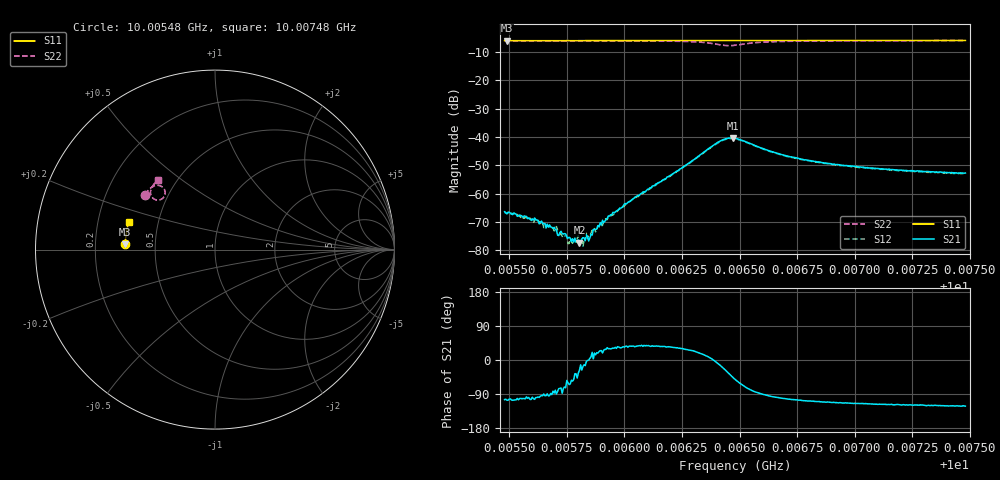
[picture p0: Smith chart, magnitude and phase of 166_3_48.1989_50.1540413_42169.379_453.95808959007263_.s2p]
#  HZ  S  RI  R  50.00
! Rohde & Schwarz Vector Network Analyzer
! Rohde-Schwarz,ZNB20-2Port,1311601062101988,3.16
! Created: UTC 3/20/2024, 11:43:32 AM
! freq[Hz]  re:S11  im:S11  re:S21  im:S21  re:S12  im:S12  re:S22  im:S22
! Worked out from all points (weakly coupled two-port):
!   401 points, 10.00548 GHz to 10.00748 GHz, reference 50 ohm
!   highest |S21| = -40.40 dB at 10.00647 GHz (marker M1); lowest = -77.3 dB at 10.0058 GHz (marker M2)
!   lowest |S11| = -6.0 dB at 10.00549 GHz (marker M3), VSWR 3.00, Z = 16.7 + j1.31 ohm
!   |S11| at or under -10 dB: nowhere
!   |S22| runs from -7.8 to -6.0 dB; largest |S21 - S12| = 0.0006
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1.000548e10  -0.4997 0.0287  -0.000119 -0.000464  -0.000113 -0.000447  -0.3908 0.3063
1.000549e10  -0.4996 0.0296  -0.000122 -0.000425  -9.77e-05 -0.000431  -0.3905 0.3068
1.0005615e10  -0.4995 0.0376  -5.47e-05 -0.000343  -2.28e-05 -0.000351  -0.3848 0.3143
1.0005685e10  -0.4991 0.0423  -6.17e-06 -0.000255  2.2e-05 -0.000246  -0.3815 0.3188
1.000571e10  -0.4991 0.044  2.35e-05 -0.000183  3.81e-05 -0.000222  -0.3802 0.3202
1.0005735e10  -0.4988 0.0454  5e-05 -0.000187  5.81e-05 -0.000157  -0.3791 0.3217
1.0005765e10  -0.4989 0.0472  7.53e-05 -0.000146  8.99e-05 -0.00013  -0.3773 0.3237
1.000579e10  -0.4989 0.049  0.000113 -8.28e-05  9.44e-05 -0.000101  -0.376 0.3252
1.0005805e10  -0.4986 0.05  0.000122 -6.18e-05  0.000109 -5.99e-05  -0.3751 0.3261
1.0005815e10  -0.4987 0.0506  0.000141 -7.06e-05  0.000134 -6.85e-05  -0.3746 0.3269
1.000585e10  -0.4985 0.0529  0.000166 1.3e-05  0.00017 4.88e-05  -0.3725 0.3291
1.0005875e10  -0.4984 0.0544  0.000228 5.52e-05  0.000192 8.69e-05  -0.3711 0.3306
1.000592e10  -0.4982 0.0576  0.000307 0.000163  0.000313 0.000179  -0.3681 0.3337
1.000601e10  -0.4975 0.0633  0.000535 0.000395  0.000529 0.000406  -0.3618 0.3398
1.000615e10  -0.4966 0.0724  0.00127 0.000934  0.0012 0.000979  -0.3481 0.3502
1.00064e10  -0.4938 0.0883  0.00775 -0.00087  0.0076 -0.000457  -0.2802 0.3306
1.000647e10  -0.4931 0.0922  0.00669 -0.00681  0.00688 -0.00633  -0.3003 0.2799
1.000648e10  -0.493 0.0928  0.00591 -0.00731  0.00619 -0.00683  -0.3083 0.277
1.000666e10  -0.4918 0.1043  -0.000771 -0.00514  -0.000495 -0.00508  -0.3596 0.3214
1.0006816e10  -0.49 0.1143  -0.0012 -0.00356  -0.00102 -0.00356  -0.3532 0.3445
1.0007151e10  -0.4853 0.1355  -0.00125 -0.00239  -0.00109 -0.00236  -0.3349 0.3706
1.0007481e10  -0.48 0.156  -0.00122 -0.00196  -0.00108 -0.00194  -0.3176 0.3884
